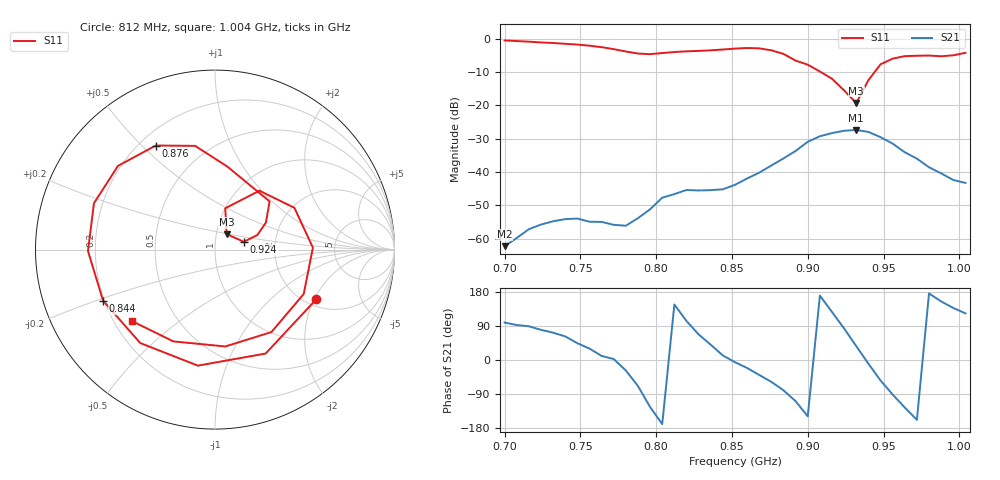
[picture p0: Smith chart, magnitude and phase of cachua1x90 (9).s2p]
# Hz S RI R 50
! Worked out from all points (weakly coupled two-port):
!   39 points, 700 MHz to 1.004 GHz, reference 50 ohm
!   highest |S21| = -27.43 dB at 932 MHz (marker M1); lowest = -62.3 dB at 700 MHz (marker M2)
!   lowest |S11| = -19.3 dB at 932 MHz (marker M3), VSWR 1.24, Z = 56.1 + j9.75 ohm
!   |S11| at or under -10 dB: 908.5 MHz to 944.2 MHz (35.74 MHz wide, 3.86 % of centre)
!   S12 and S22 are empty: the file has one direction only
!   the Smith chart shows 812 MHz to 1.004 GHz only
!   S11 on the Smith chart (normalised r, x): 812 MHz: 2.27, -2.08; 844 MHz: 0.20, -0.21; 876 MHz: 0.26, +0.55; 924 MHz: 1.38, +0.12; 1.004 GHz: 0.27, -0.35
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7e8  0.7563 0.5541  -0.000116 0.00076  0 0  0 0
7.24e8  0.8394 -0.2468  0.000293 0.00159  0 0  0 0
7.4e8  0.4567 -0.6995  0.000912 0.00173  0 0  0 0
7.56e8  -0.1927 -0.7582  0.00155 0.000896  0 0  0 0
7.72e8  -0.6643 -0.2003  0.00161 6.97e-05  0 0  0 0
7.8e8  -0.5999 0.2243  0.00138 -0.000728  0 0  0 0
7.88e8  -0.2535 0.54  0.000731 -0.00189  0 0  0 0
7.96e8  0.238 0.5336  -0.00154 -0.00228  0 0  0 0
8.04e8  0.5779 0.1849  -0.00403 -0.000762  0 0  0 0
8.12e8  0.5646 -0.2766  -0.00387 0.00258  0 0  0 0
8.28e8  -0.0955 -0.6465  0.00201 0.00487  0 0  0 0
8.44e8  -0.6236 -0.2848  0.00536 0.00113  0 0  0 0
8.52e8  -0.7077 -0.0078  0.00637 -0.000647  0 0  0 0
8.76e8  -0.3301 0.5798  0.00665 -0.0106  0 0  0 0
9e8  0.3043 0.2686  -0.0242 -0.0147  0 0  0 0
9.08e8  0.2834 0.1501  -0.0338 0.00599  0 0  0 0
9.24e8  0.161 0.0434  0.00495 0.0411  0 0  0 0
9.32e8  0.0652 0.0859  0.0342 0.0253  0 0  0 0
9.56e8  0.4425 0.2328  -0.000509 -0.0266  0 0  0 0
9.64e8  0.5454 0.0109  -0.0114 -0.0161  0 0  0 0
9.8e8  0.3146 -0.4594  -0.0117 0.000906  0 0  0 0
1.004e9  -0.4643 -0.3976  -0.00373 0.00573  0 0  0 0
